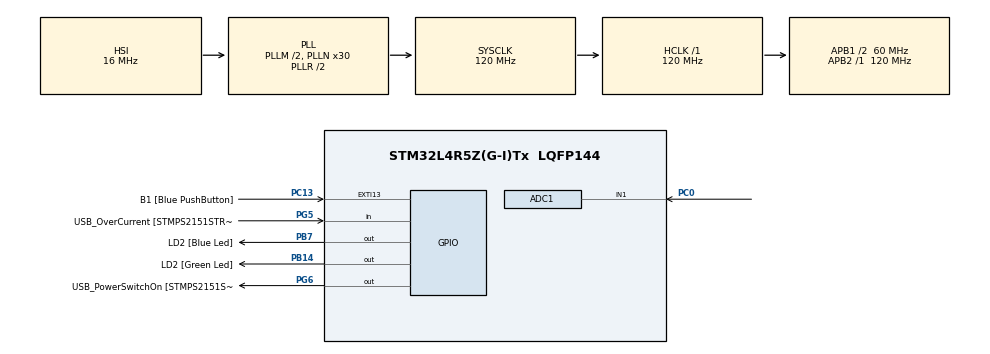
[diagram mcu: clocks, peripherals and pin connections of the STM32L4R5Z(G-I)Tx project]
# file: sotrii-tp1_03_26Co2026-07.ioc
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ADC1.Channel-1\#ChannelRegularConversion=ADC_CHANNEL_1
ADC1.ClockPrescaler=ADC_CLOCK_ASYNC_DIV4
ADC1.ContinuousConvMode=DISABLE
ADC1.DMAContinuousRequests=DISABLE
ADC1.NbrOfConversion=1
ADC1.NbrOfConversionFlag=1
ADC1.OffsetNumber-1\#ChannelRegularConversion=ADC_OFFSET_NONE
ADC1.Overrun=ADC_OVR_DATA_OVERWRITTEN
ADC1.Rank-1\#ChannelRegularConversion=1
ADC1.SamplingTime-1\#ChannelRegularConversion=ADC_SAMPLETIME_2CYCLES_5
ADC1.master=1
Dma.ADC1.0.Direction=DMA_PERIPH_TO_MEMORY
Dma.ADC1.0.EventEnable=DISABLE
Dma.ADC1.0.Instance=DMA1_Channel1
Dma.ADC1.0.MemDataAlignment=DMA_MDATAALIGN_HALFWORD
Dma.ADC1.0.MemInc=DMA_MINC_DISABLE
Dma.ADC1.0.Mode=DMA_NORMAL
Dma.ADC1.0.PeriphDataAlignment=DMA_PDATAALIGN_HALFWORD
Dma.ADC1.0.PeriphInc=DMA_PINC_DISABLE
Dma.ADC1.0.Polarity=HAL_DMAMUX_REQUEST_GEN_RISING
Dma.ADC1.0.Priority=DMA_PRIORITY_LOW
Dma.ADC1.0.RequestNumber=1
Dma.ADC1.0.SignalID=NONE
Dma.ADC1.0.SyncEnable=DISABLE
Dma.ADC1.0.SyncPolarity=HAL_DMAMUX_SYNC_NO_EVENT
Dma.ADC1.0.SyncRequestNumber=1
Dma.ADC1.0.SyncSignalID=NONE
Dma.Request0=ADC1
FREERTOS.INCLUDE_vTaskDelayUntil=1
FREERTOS.Tasks01=defaultTask,0,256,StartDefaultTask,Default,NULL,Dynamic,NULL,NULL
FREERTOS.configCHECK_FOR_STACK_OVERFLOW=1
FREERTOS.configGENERATE_RUN_TIME_STATS=1
FREERTOS.configMINIMAL_STACK_SIZE=128
FREERTOS.configRECORD_STACK_HIGH_ADDRESS=1
FREERTOS.configTICK_RATE_HZ=1000
FREERTOS.configTOTAL_HEAP_SIZE=15360
FREERTOS.configUSE_IDLE_HOOK=1
FREERTOS.configUSE_STATS_FORMATTING_FUNCTIONS=1
FREERTOS.configUSE_TICK_HOOK=1
FREERTOS.configUSE_TRACE_FACILITY=1
Mcu.Family=STM32L4
Mcu.Name=STM32L4R5Z(G-I)Tx
Mcu.Package=LQFP144
NVIC.DMA1_Channel1_IRQn=true\:6\:0\:false\:false\:true\:true\:false\:true\:true
NVIC.EXTI15_10_IRQn=true\:5\:0\:false\:false\:true\:true\:true\:true\:true
NVIC.PriorityGroup=NVIC_PRIORITYGROUP_4
NVIC.TIM1_UP_TIM16_IRQn=true\:15\:0\:false\:false\:true\:false\:false\:true\:true
NVIC.TIM2_IRQn=true\:5\:0\:false\:false\:true\:true\:true\:true\:true
NVIC.TimeBase=TIM1_UP_TIM16_IRQn
NVIC.TimeBaseIP=TIM1
PA10.GPIO_Label=USB_ID
PA10.Signal=USB_OTG_FS_ID
PA11.GPIO_Label=USB_DM
PA11.Signal=USB_OTG_FS_DM
PA12.GPIO_Label=USB_DP
PA12.Signal=USB_OTG_FS_DP
PA13\ (JTMS/SWDIO).GPIO_Label=TMS
PA13\ (JTMS/SWDIO).Mode=Serial_Wire
PA13\ (JTMS/SWDIO).Signal=SYS_JTMS-SWDIO
PA14\ (JTCK/SWCLK).GPIO_Label=TCK
PA14\ (JTCK/SWCLK).Mode=Serial_Wire
PA14\ (JTCK/SWCLK).Signal=SYS_JTCK-SWCLK
PA8.GPIO_Label=USB_SOF [TP1]
PA8.Signal=USB_OTG_FS_SOF
PA9.GPIO_Label=USB_VBUS
PA9.Signal=USB_OTG_FS_VBUS
PB14.GPIO_Label=LD2 [Green Led]
PB14.Signal=GPIO_Output
PB3\ (JTDO/TRACESWO).GPIO_Label=SWO
PB3\ (JTDO/TRACESWO).Signal=SYS_JTDO-SWO
PB7.GPIO_Label=LD2 [Blue Led]
PB7.Signal=GPIO_Output
PB8.Signal=I2C1_SCL
PB9.Signal=I2C1_SDA
PC0.Signal=ADCx_IN1
PC13.GPIO_Label=B1 [Blue PushButton]
PC13.GPIO_ModeDefaultEXTI=GPIO_MODE_IT_RISING_FALLING
PC13.Signal=GPXTI13
PC14-OSC32_IN\ (PC14).Mode=LSE-External-Oscillator
PC14-OSC32_IN\ (PC14).Signal=RCC_OSC32_IN
PC15-OSC32_OUT\ (PC15).Mode=LSE-External-Oscillator
PC15-OSC32_OUT\ (PC15).Signal=RCC_OSC32_OUT
PD5.GPIO_Label=USART_TX
PD5.Signal=USART2_TX
PD6.GPIO_Label=USART_RX
PD6.Signal=USART2_RX
PD8.GPIO_Label=STLK_RX [STM32F103CBT6_PA3]
PD8.Signal=USART3_TX
PD9.GPIO_Label=STLK_TX [STM32F103CBT6_PA2]
PD9.Signal=USART3_RX
PG5.GPIO_Label=USB_OverCurrent [STMPS2151STR_FAULT]
PG5.Signal=GPIO_Input
PG6.GPIO_Label=USB_PowerSwitchOn [STMPS2151STR_EN]
PG6.Signal=GPIO_Output
PG7.GPIO_Label=STLINK_TX
PG7.Signal=LPUART1_TX
PG8.GPIO_Label=STLINK_RX
PG8.Signal=LPUART1_RX
PH0-OSC_IN\ (PH0).Mode=HSE-External-Oscillator
PH0-OSC_IN\ (PH0).Signal=RCC_OSC_IN
PH1-OSC_OUT\ (PH1).Mode=HSE-External-Oscillator
PH1-OSC_OUT\ (PH1).Signal=RCC_OSC_OUT
ProjectManager.HeapSize=0x200
ProjectManager.StackSize=0x400
ProjectManager.TargetToolchain=STM32CubeIDE
RCC.48MHZClocksFreq_Value=24000000
RCC.ADCFreq_Value=96000000
RCC.AHBFreq_Value=120000000
RCC.APB1CLKDivider=RCC_HCLK_DIV2
RCC.APB1Freq_Value=60000000
RCC.APB1TimFreq_Value=120000000
RCC.APB2Freq_Value=120000000
RCC.APB2TimFreq_Value=120000000
RCC.CK48CLockSelection=RCC_USBCLKSOURCE_HSI48
RCC.CortexFreq_Value=120000000
RCC.HCLKFreq_Value=120000000
RCC.HSE_VALUE=8000000
RCC.HSI48_VALUE=48000000
RCC.HSI_VALUE=16000000
RCC.MSI_VALUE=4000000
RCC.PLLM1=2
RCC.PLLMUL=RCC_PLL_MUL9
RCC.PLLN=30
RCC.PLLSAI1N=12
RCC.PLLSourceVirtual=RCC_PLLSOURCE_HSI
RCC.PRESCALERUSB=RCC_USBCLKSOURCE_PLL_DIV1_5
RCC.SYSCLKFreq_VALUE=120000000
RCC.SYSCLKSource=RCC_SYSCLKSOURCE_PLLCLK
RCC.SYSCLKSourceVirtual=RCC_SYSCLKSOURCE_PLLCLK
RCC.USBFreq_Value=48000000
RCC.VCOOutputFreq_Value=240000000
SH.ADCx_IN1.0=ADC1_IN1,IN1-Single-Ended
TIM2.Period=99
TIM2.Prescaler=119
VP_FREERTOS_VS_CMSIS_V1.Mode=CMSIS_V1
VP_SYS_VS_tim1.Mode=TIM1
VP_TIM2_VS_ClockSourceINT.Mode=Internal
board=NUCLEO-L4R5ZI

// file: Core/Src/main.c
/* USER CODE BEGIN Header */
/**
  ******************************************************************************
  * @file           : main.c
  * @brief          : Main program body
  ******************************************************************************
  * @attention
  *
  * Copyright (c) 2026 STMicroelectronics.
  * All rights reserved.
  *
  * This software is licensed under terms that can be found in the LICENSE file
  * in the root directory of this software component.
  * If no LICENSE file comes with this software, it is provided AS-IS.
  *
  ******************************************************************************
  * Add semihosting
  * https://community.st.com/t5/stm32-mcus/how-to-use-semihosting-with-stm32cubeide-and-stm32/ta-p/49742
  * * Remove or disable syscalls.c
  ******************************************************************************
  ******************************************************************************
  */

/* USER CODE END Header */
#include "main.h"
#include "cmsis_os.h"

/* USER CODE BEGIN Includes */
/* Demo includes. */
#include "logger.h"
#include "dwt.h"

/* Application includes. */
#include "app.h"

/* USER CODE END Includes */

ADC_HandleTypeDef hadc1;
DMA_HandleTypeDef hdma_adc1;

TIM_HandleTypeDef htim2;

osThreadId defaultTaskHandle;
/* USER CODE BEGIN PV */
volatile unsigned long ulHighFrequencyTimerTicks;

/* USER CODE END PV */

void SystemClock_Config(void);
static void MX_GPIO_Init(void);
static void MX_DMA_Init(void);
static void MX_TIM2_Init(void);
static void MX_ADC1_Init(void);
void StartDefaultTask(void const * argument);

/* USER CODE BEGIN 0 */
#if (1 == LOGGER_CONFIG_USE_SEMIHOSTING)
extern void initialise_monitor_handles(void);
#endif

/* USER CODE END 0 */

int main(void)
{

  /* USER CODE BEGIN 1 */
  #if (1 == LOGGER_CONFIG_USE_SEMIHOSTING)
  initialise_monitor_handles();
  #endif

  /* USER CODE END 1 */

  /* MCU Configuration--------------------------------------------------------*/

  /* Reset of all peripherals, Initializes the Flash interface and the Systick. */
  HAL_Init();

  /* Configure the system clock */
  SystemClock_Config();

  /* Initialize all configured peripherals */
  MX_GPIO_Init();
  MX_DMA_Init();
  MX_TIM2_Init();
  MX_ADC1_Init();
  /* USER CODE BEGIN 2 */
  /* Start timer */
  HAL_TIM_Base_Start_IT(&htim2);

  /* add application, ... */
  app_init();
  /* USER CODE END 2 */

  /* USER CODE BEGIN RTOS_QUEUES */
  /* add queues, ... */
  #ifdef _defaultTask_

  /* USER CODE END RTOS_QUEUES */

  /* Create the thread(s) */
  /* definition and creation of defaultTask */
  osThreadDef(defaultTask, StartDefaultTask, osPriorityNormal, 0, 256);
  defaultTaskHandle = osThreadCreate(osThread(defaultTask), NULL);

  /* USER CODE BEGIN RTOS_THREADS */
  #endif

  /* add threads, ... */
  /* USER CODE END RTOS_THREADS */

  /* Start scheduler */
  osKernelStart();

  /* We should never get here as control is now taken by the scheduler */

  /* Infinite loop */
  while (1)
  {

  }
}

void SystemClock_Config(void)
{
  RCC_OscInitTypeDef RCC_OscInitStruct = {0};
  RCC_ClkInitTypeDef RCC_ClkInitStruct = {0};

  /** Configure the main internal regulator output voltage
  */
  if (HAL_PWREx_ControlVoltageScaling(PWR_REGULATOR_VOLTAGE_SCALE1_BOOST) != HAL_OK)
  {
    Error_Handler();
  }

  /** Initializes the RCC Oscillators according to the specified parameters
  * in the RCC_OscInitTypeDef structure.
  */
  RCC_OscInitStruct.OscillatorType = RCC_OSCILLATORTYPE_HSI;
  RCC_OscInitStruct.HSIState = RCC_HSI_ON;
  RCC_OscInitStruct.HSICalibrationValue = RCC_HSICALIBRATION_DEFAULT;
  RCC_OscInitStruct.PLL.PLLState = RCC_PLL_ON;
  RCC_OscInitStruct.PLL.PLLSource = RCC_PLLSOURCE_HSI;
  RCC_OscInitStruct.PLL.PLLM = 2;
  RCC_OscInitStruct.PLL.PLLN = 30;
  RCC_OscInitStruct.PLL.PLLP = RCC_PLLP_DIV2;
  RCC_OscInitStruct.PLL.PLLQ = RCC_PLLQ_DIV2;
  RCC_OscInitStruct.PLL.PLLR = RCC_PLLR_DIV2;
  if (HAL_RCC_OscConfig(&RCC_OscInitStruct) != HAL_OK)
  {
    Error_Handler();
  }

  /** Initializes the CPU, AHB and APB buses clocks
  */
  RCC_ClkInitStruct.ClockType = RCC_CLOCKTYPE_HCLK|RCC_CLOCKTYPE_SYSCLK
                              |RCC_CLOCKTYPE_PCLK1|RCC_CLOCKTYPE_PCLK2;
  RCC_ClkInitStruct.SYSCLKSource = RCC_SYSCLKSOURCE_PLLCLK;
  RCC_ClkInitStruct.AHBCLKDivider = RCC_SYSCLK_DIV1;
  RCC_ClkInitStruct.APB1CLKDivider = RCC_HCLK_DIV2;
  RCC_ClkInitStruct.APB2CLKDivider = RCC_HCLK_DIV1;

  if (HAL_RCC_ClockConfig(&RCC_ClkInitStruct, FLASH_LATENCY_5) != HAL_OK)
  {
    Error_Handler();
  }
}

static void MX_ADC1_Init(void)
{

  ADC_ChannelConfTypeDef sConfig = {0};

  /** Common config
  */
  hadc1.Instance = ADC1;
  hadc1.Init.ClockPrescaler = ADC_CLOCK_ASYNC_DIV4;
  hadc1.Init.Resolution = ADC_RESOLUTION_12B;
  hadc1.Init.DataAlign = ADC_DATAALIGN_RIGHT;
  hadc1.Init.ScanConvMode = ADC_SCAN_DISABLE;
  hadc1.Init.EOCSelection = ADC_EOC_SINGLE_CONV;
  hadc1.Init.LowPowerAutoWait = DISABLE;
  hadc1.Init.ContinuousConvMode = DISABLE;
  hadc1.Init.NbrOfConversion = 1;
  hadc1.Init.DiscontinuousConvMode = DISABLE;
  hadc1.Init.ExternalTrigConv = ADC_SOFTWARE_START;
  hadc1.Init.ExternalTrigConvEdge = ADC_EXTERNALTRIGCONVEDGE_NONE;
  hadc1.Init.DMAContinuousRequests = DISABLE;
  hadc1.Init.Overrun = ADC_OVR_DATA_OVERWRITTEN;
  hadc1.Init.OversamplingMode = DISABLE;
  if (HAL_ADC_Init(&hadc1) != HAL_OK)
  {
    Error_Handler();
  }

  /** Configure Regular Channel
  */
  sConfig.Channel = ADC_CHANNEL_1;
  sConfig.Rank = ADC_REGULAR_RANK_1;
  sConfig.SamplingTime = ADC_SAMPLETIME_2CYCLES_5;
  sConfig.SingleDiff = ADC_SINGLE_ENDED;
  sConfig.OffsetNumber = ADC_OFFSET_NONE;
  sConfig.Offset = 0;
  if (HAL_ADC_ConfigChannel(&hadc1, &sConfig) != HAL_OK)
  {
    Error_Handler();
  }
/* USER CODE BEGIN ADC1_Init 2 */
  HAL_NVIC_SetPriority(ADC1_IRQn, 6, 0);
  HAL_NVIC_EnableIRQ(ADC1_IRQn);
/* USER CODE END ADC1_Init 2 */

}

static void MX_TIM2_Init(void)
{

  TIM_ClockConfigTypeDef sClockSourceConfig = {0};
  TIM_MasterConfigTypeDef sMasterConfig = {0};

  htim2.Instance = TIM2;
  htim2.Init.Prescaler = 119;
  htim2.Init.CounterMode = TIM_COUNTERMODE_UP;
  htim2.Init.Period = 99;
  htim2.Init.ClockDivision = TIM_CLOCKDIVISION_DIV1;
  htim2.Init.AutoReloadPreload = TIM_AUTORELOAD_PRELOAD_DISABLE;
  if (HAL_TIM_Base_Init(&htim2) != HAL_OK)
  {
    Error_Handler();
  }
  sClockSourceConfig.ClockSource = TIM_CLOCKSOURCE_INTERNAL;
  if (HAL_TIM_ConfigClockSource(&htim2, &sClockSourceConfig) != HAL_OK)
  {
    Error_Handler();
  }
  sMasterConfig.MasterOutputTrigger = TIM_TRGO_RESET;
  sMasterConfig.MasterSlaveMode = TIM_MASTERSLAVEMODE_DISABLE;
  if (HAL_TIMEx_MasterConfigSynchronization(&htim2, &sMasterConfig) != HAL_OK)
  {
    Error_Handler();
  }

}

static void MX_DMA_Init(void)
{

  /* DMA controller clock enable */
  __HAL_RCC_DMAMUX1_CLK_ENABLE();
  __HAL_RCC_DMA1_CLK_ENABLE();

  /* DMA interrupt init */
  /* DMA1_Channel1_IRQn interrupt configuration */
  HAL_NVIC_SetPriority(DMA1_Channel1_IRQn, 6, 0);
  HAL_NVIC_EnableIRQ(DMA1_Channel1_IRQn);

}

static void MX_GPIO_Init(void)
{
  GPIO_InitTypeDef GPIO_InitStruct = {0};

  /* GPIO Ports Clock Enable */
  __HAL_RCC_GPIOC_CLK_ENABLE();
  __HAL_RCC_GPIOH_CLK_ENABLE();
  __HAL_RCC_GPIOB_CLK_ENABLE();
  __HAL_RCC_GPIOD_CLK_ENABLE();
  __HAL_RCC_GPIOG_CLK_ENABLE();
  HAL_PWREx_EnableVddIO2();
  __HAL_RCC_GPIOA_CLK_ENABLE();

  /*Configure GPIO pin Output Level */
  HAL_GPIO_WritePin(GPIOB, LD2_Pin|LD2B7_Pin, GPIO_PIN_RESET);

  /*Configure GPIO pin Output Level */
  HAL_GPIO_WritePin(USB_PowerSwitchOn_GPIO_Port, USB_PowerSwitchOn_Pin, GPIO_PIN_RESET);

  /*Configure GPIO pin : B1_Pin */
  GPIO_InitStruct.Pin = B1_Pin;
  GPIO_InitStruct.Mode = GPIO_MODE_IT_RISING_FALLING;
  GPIO_InitStruct.Pull = GPIO_NOPULL;
  HAL_GPIO_Init(B1_GPIO_Port, &GPIO_InitStruct);

  /*Configure GPIO pins : LD2_Pin LD2B7_Pin */
  GPIO_InitStruct.Pin = LD2_Pin|LD2B7_Pin;
  GPIO_InitStruct.Mode = GPIO_MODE_OUTPUT_PP;
  GPIO_InitStruct.Pull = GPIO_NOPULL;
  GPIO_InitStruct.Speed = GPIO_SPEED_FREQ_LOW;
  HAL_GPIO_Init(GPIOB, &GPIO_InitStruct);

  /*Configure GPIO pins : STLK_RX_Pin STLK_TX_Pin */
  GPIO_InitStruct.Pin = STLK_RX_Pin|STLK_TX_Pin;
  GPIO_InitStruct.Mode = GPIO_MODE_AF_PP;
  GPIO_InitStruct.Pull = GPIO_NOPULL;
  GPIO_InitStruct.Speed = GPIO_SPEED_FREQ_VERY_HIGH;
  GPIO_InitStruct.Alternate = GPIO_AF7_USART3;
  HAL_GPIO_Init(GPIOD, &GPIO_InitStruct);

  /*Configure GPIO pin : USB_OverCurrent_Pin */
  GPIO_InitStruct.Pin = USB_OverCurrent_Pin;
  GPIO_InitStruct.Mode = GPIO_MODE_INPUT;
  GPIO_InitStruct.Pull = GPIO_NOPULL;
  HAL_GPIO_Init(USB_OverCurrent_GPIO_Port, &GPIO_InitStruct);

  /*Configure GPIO pin : USB_PowerSwitchOn_Pin */
  GPIO_InitStruct.Pin = USB_PowerSwitchOn_Pin;
  GPIO_InitStruct.Mode = GPIO_MODE_OUTPUT_PP;
  GPIO_InitStruct.Pull = GPIO_NOPULL;
  GPIO_InitStruct.Speed = GPIO_SPEED_FREQ_LOW;
  HAL_GPIO_Init(USB_PowerSwitchOn_GPIO_Port, &GPIO_InitStruct);

  /*Configure GPIO pins : STLINK_TX_Pin STLINK_RX_Pin */
  GPIO_InitStruct.Pin = STLINK_TX_Pin|STLINK_RX_Pin;
  GPIO_InitStruct.Mode = GPIO_MODE_AF_PP;
  GPIO_InitStruct.Pull = GPIO_NOPULL;
  GPIO_InitStruct.Speed = GPIO_SPEED_FREQ_VERY_HIGH;
  GPIO_InitStruct.Alternate = GPIO_AF8_LPUART1;
  HAL_GPIO_Init(GPIOG, &GPIO_InitStruct);

  /*Configure GPIO pins : USB_SOF_Pin USB_ID_Pin USB_DM_Pin USB_DP_Pin */
  GPIO_InitStruct.Pin = USB_SOF_Pin|USB_ID_Pin|USB_DM_Pin|USB_DP_Pin;
  GPIO_InitStruct.Mode = GPIO_MODE_AF_PP;
  GPIO_InitStruct.Pull = GPIO_NOPULL;
  GPIO_InitStruct.Speed = GPIO_SPEED_FREQ_VERY_HIGH;
  GPIO_InitStruct.Alternate = GPIO_AF10_OTG_FS;
  HAL_GPIO_Init(GPIOA, &GPIO_InitStruct);

  /*Configure GPIO pin : USB_VBUS_Pin */
  GPIO_InitStruct.Pin = USB_VBUS_Pin;
  GPIO_InitStruct.Mode = GPIO_MODE_INPUT;
  GPIO_InitStruct.Pull = GPIO_NOPULL;
  HAL_GPIO_Init(USB_VBUS_GPIO_Port, &GPIO_InitStruct);

  /*Configure GPIO pins : USART_TX_Pin USART_RX_Pin */
  GPIO_InitStruct.Pin = USART_TX_Pin|USART_RX_Pin;
  GPIO_InitStruct.Mode = GPIO_MODE_AF_PP;
  GPIO_InitStruct.Pull = GPIO_NOPULL;
  GPIO_InitStruct.Speed = GPIO_SPEED_FREQ_VERY_HIGH;
  GPIO_InitStruct.Alternate = GPIO_AF7_USART2;
  HAL_GPIO_Init(GPIOD, &GPIO_InitStruct);

  /*Configure GPIO pins : PB8 PB9 */
  GPIO_InitStruct.Pin = GPIO_PIN_8|GPIO_PIN_9;
  GPIO_InitStruct.Mode = GPIO_MODE_AF_OD;
  GPIO_InitStruct.Pull = GPIO_NOPULL;
  GPIO_InitStruct.Speed = GPIO_SPEED_FREQ_VERY_HIGH;
  GPIO_InitStruct.Alternate = GPIO_AF4_I2C1;
  HAL_GPIO_Init(GPIOB, &GPIO_InitStruct);

  /* EXTI interrupt init*/
  HAL_NVIC_SetPriority(EXTI15_10_IRQn, 5, 0);
  HAL_NVIC_EnableIRQ(EXTI15_10_IRQn);

}

/* USER CODE BEGIN 4 */
/* Functions needed when configGENERATE_RUN_TIME_STATS is on */
void configureTimerForRunTimeStats(void)
{
    ulHighFrequencyTimerTicks = 0;
}

unsigned long getRunTimeCounterValue(void)
{
	return ulHighFrequencyTimerTicks;
}

/* USER CODE END 4 */

void StartDefaultTask(void const * argument)
{
  for(;;)
  {
    osDelay(1);
  }
}

void HAL_TIM_PeriodElapsedCallback(TIM_HandleTypeDef *htim)
{
  if (htim->Instance == TIM1)
  {
    HAL_IncTick();
  }
  /* USER CODE BEGIN Callback 1 */
	if (htim->Instance == TIM2)
	{
		ulHighFrequencyTimerTicks++;
	}

  /* USER CODE END Callback 1 */
}

void Error_Handler(void)
{
  __disable_irq();
  while (1)
  {
  }
}
